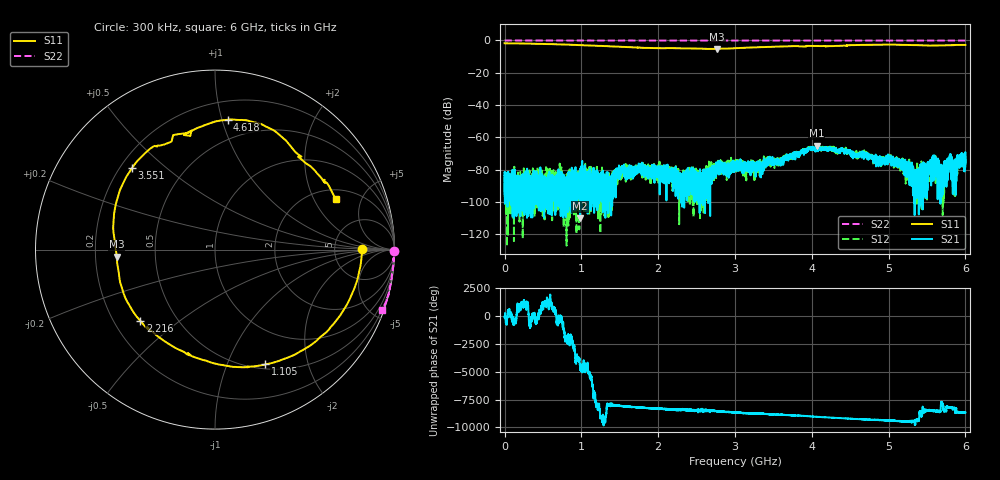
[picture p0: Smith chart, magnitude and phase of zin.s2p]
!  8/10/2020  01:49:34
! Ref Plane: 0.000 mm
# MHZ S MA R  50
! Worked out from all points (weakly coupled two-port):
!   10001 points, 300 kHz to 6 GHz, reference 50 ohm
!   highest |S21| = -65.13 dB at 4.061 GHz (marker M1); lowest = -110.0 dB at 981.9 MHz (marker M2)
!   lowest |S11| = -5.2 dB at 2.768 GHz (marker M3), VSWR 3.43, Z = 14.6 - j1.63 ohm
!   |S11| at or under -10 dB: nowhere
!   |S22| runs from -0.1 to 0.0 dB; largest |S21 - S12| = 0.0002
!   S11 on the Smith chart (normalised r, x): 300 kHz: 10, +0; 1.105 GHz: 0.55, -1.38; 2.216 GHz: 0.31, -0.37; 3.551 GHz: 0.25, +0.39; 4.618 GHz: 0.34, +1.04; 6 GHz: 2.55, +3.01
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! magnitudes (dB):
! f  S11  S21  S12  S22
! 300 kHz  -1.7  -94.9  -94.1  0.0
! 981.9 MHz  -2.9  -110.0  -85.5  0.0
! 1 GHz  -2.9  -79.8  -88.5  0.0
! 1.105 GHz  -3.1  -88.7  -103.7  0.0
! 2.001 GHz  -4.8  -82.9  -79.8  0.0
! 2.216 GHz  -4.8  -83.7  -82.1  0.0
! 2.768 GHz  -5.2  -80.6  -76.4  0.0
! 3 GHz  -4.8  -76.5  -80.2  0.0
! 3.33 GHz  -4.1  -75.5  -77.9  0.0
! 3.44 GHz  -3.9  -72.9  -72.3  0.0
! 3.551 GHz  -3.8  -74.1  -75.0  0.0
! 4 GHz  -3.4  -66.8  -65.9  0.0
! 4.061 GHz  -3.5  -65.1  -66.9  0.0
! 4.618 GHz  -2.8  -70.2  -70.5  0.0
! 5 GHz  -2.6  -71.5  -72.6  0.0
! 5.339 GHz  -3.0  -87.4  -83.9  0.0
! 5.593 GHz  -3.1  -73.6  -80.1  -0.1
! 5.697 GHz  -3.0  -78.5  -90.5  0.0
! 5.795 GHz  -2.9  -75.5  -73.8  -0.1
! 5.858 GHz  -2.8  -83.0  -83.7  -0.1
! 5.939 GHz  -2.8  -71.2  -74.1  -0.1
! 6 GHz  -2.8  -78.0  -71.5  -0.1
